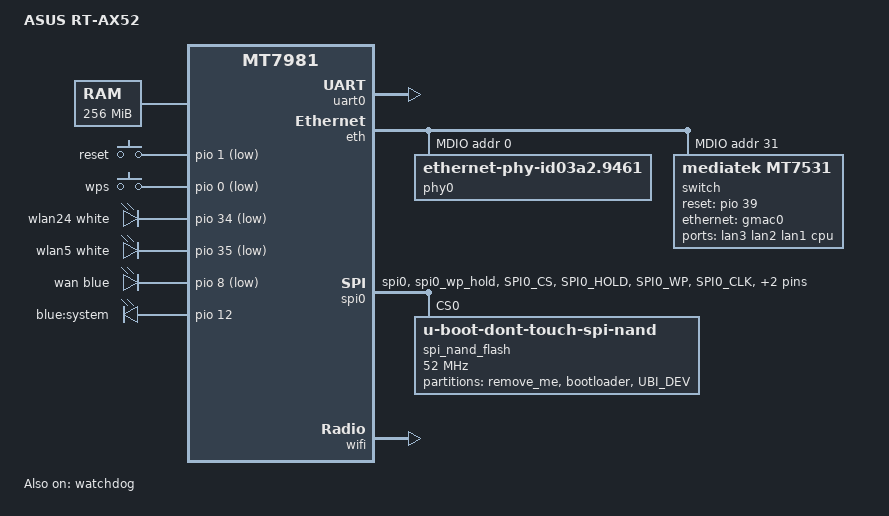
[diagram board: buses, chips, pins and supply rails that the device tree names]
// SPDX-License-Identifier: GPL-2.0-or-later OR MIT
/dts-v1/;
#include "mt7981.dtsi"
/ {
	model = "ASUS RT-AX52";
	compatible = "asus,rt-ax52", "mediatek,mt7981";

	aliases {
		serial0 = &uart0;
		label-mac-device = &gmac0;
		led-boot = &led_system;
		led-failsafe = &led_system;
		led-running = &led_system;
		led-upgrade = &led_system;
	};

	chosen {
		stdout-path = "serial0:115200n8";
		bootargs-override = "";
	};

	memory {
		reg = <0 0x40000000 0 0x10000000>;
	};

	keys {
		compatible = "gpio-keys";

		reset {
			label = "reset";
			gpios = <&pio 1 GPIO_ACTIVE_LOW>;
			linux,code = <KEY_RESTART>;
		};

		wps {
			label = "wps";
			gpios = <&pio 0 GPIO_ACTIVE_LOW>;
			linux,code = <KEY_WPS_BUTTON>;
		};
	};

	leds {
		compatible = "gpio-leds";

		wlan24 {
			function = LED_FUNCTION_WLAN_2GHZ;
			color = <LED_COLOR_ID_WHITE>;
			gpios = <&pio 34 GPIO_ACTIVE_LOW>;
			linux,default-trigger = "phy0tpt";
		};

		wlan5 {
			function = LED_FUNCTION_WLAN_5GHZ;
			color = <LED_COLOR_ID_WHITE>;
			gpios = <&pio 35 GPIO_ACTIVE_LOW>;
			linux,default-trigger = "phy1tpt";
		};

		wan {
			function = LED_FUNCTION_WAN;
			color = <LED_COLOR_ID_BLUE>;
			gpios = <&pio 8 GPIO_ACTIVE_LOW>;
		};

		led_system: system {
			label = "blue:system";
			gpios = <&pio 12 GPIO_ACTIVE_HIGH>;
		};
	};

	timer {
		clock-frequency = <12996791>;
	};
};

&uart0 {
	status = "okay";
};

&eth {
	status = "okay";

	gmac0: mac@0 {
		/* LAN */
		compatible = "mediatek,eth-mac";
		reg = <0>;
		nvmem-cells = <&macaddr_factory_4>;
		nvmem-cell-names = "mac-address";
		phy-mode = "2500base-x";

		fixed-link {
			speed = <2500>;
			full-duplex;
			pause;
		};
	};

	gmac1: mac@1 {
		/* WAN */
		compatible = "mediatek,eth-mac";
		reg = <1>;
		nvmem-cells = <&macaddr_factory_4>;
		nvmem-cell-names = "mac-address";
		phy-mode = "gmii";
		phy-handle = <&phy0>;
		label = "wan";
	};

	mdio: mdio-bus {
		#address-cells = <1>;
		#size-cells = <0>;

		phy0: ethernet-phy@0 {
			compatible = "ethernet-phy-id03a2.9461";
			reg = <0>;
			phy-mode = "gmii";
			#nvmem-cells = <&phy_calibration>;
			#nvmem-cell-names = "phy-cal-data";
		};

		switch@1f {
			compatible = "mediatek,mt7531";
			reg = <31>;
			reset-gpios = <&pio 39 0>;

			ports {
				#address-cells = <1>;
				#size-cells = <0>;

				port@0 {
					reg = <0>;
					label = "lan3";
				};

				port@1 {
					reg = <1>;
					label = "lan2";
				};

				port@2 {
					reg = <2>;
					label = "lan1";
				};

				port@6 {
					reg = <6>;
					label = "cpu";
					ethernet = <&gmac0>;
					phy-mode = "2500base-x";

					fixed-link {
						speed = <2500>;
						full-duplex;
						pause;
					};
				};
			};
		};
	};
};

&spi0 {
	pinctrl-names = "default";
	pinctrl-0 = <&spi0_flash_pins>;
	status = "okay";

	spi_nand_flash: flash@0 {
		compatible = "u-boot-dont-touch-spi-nand";
		#address-cells = <1>;
		#size-cells = <1>;
		reg = <0>;

		spi-max-frequency = <52000000>;
		spi-tx-bus-width = <4>;
		spi-rx-bus-width = <4>;

		/*
		 * ASUS bootloader tries to replace the partitions defined in
		 * Device Tree and by that also deletes all additional properties
		 * needed for UBI and NVMEM-on-UBI.
		 * Prevent this from happening by tricking the loader to delete and
		 * replace a bait node instead (works with older bootloaders).
		 */
		partitions: dummy {
			compatible = "u-boot-dummy-partitions";
			#address-cells = <1>;
			#size-cells = <1>;

			partition@0 {
				reg = <0x0 0x0>;
				label = "remove_me";
			};
		};

		partitions {
			compatible = "fixed-partitions";
			#address-cells = <1>;
			#size-cells = <1>;

			partition@0 {
				reg = <0x0 0x400000>;
				label = "bootloader";
				read-only;
			};

			partition@400000 {
				compatible = "linux,ubi";
				reg = <0x400000 0xfc00000>;
				label = "UBI_DEV";

				volumes {
					ubi_factory: ubi-volume-factory {
						volname = "Factory";
					};
				};
			};
		};
	};
};

&ubi_factory {
	nvmem-layout {
		compatible = "fixed-layout";
		#address-cells = <1>;
		#size-cells = <1>;

		eeprom_factory_0: eeprom@0 {
			reg = <0x0 0x1000>;
		};

		macaddr_factory_4: macaddr@4 {
			reg = <0x4 0x6>;
		};
	};
};

&spi1 {
	pinctrl-names = "default";
	pinctrl-0 = <&spic_pins>;
	status = "disabled";
};

&pio {
	i2c_pins: i2c-pins-g0 {
		mux {
			function = "i2c";
			groups = "i2c0_0";
		};
	};

	spi0_flash_pins: spi0-pins {
		mux {
			function = "spi";
			groups = "spi0", "spi0_wp_hold";
		};

		conf-pu {
			pins = "SPI0_CS", "SPI0_HOLD", "SPI0_WP";
			drive-strength = <MTK_DRIVE_8mA>;
			bias-pull-up = <MTK_PUPD_SET_R1R0_11>;
		};

		conf-pd {
			pins = "SPI0_CLK", "SPI0_MOSI", "SPI0_MISO";
			drive-strength = <MTK_DRIVE_8mA>;
			bias-pull-down = <MTK_PUPD_SET_R1R0_11>;
		};
	};

	spic_pins: spi1-pins {
		mux {
			function = "spi";
			groups = "spi1_1";
		};
	};

	uart1_pins: uart1-pins-g1 {
		mux {
			function = "uart";
			groups = "uart1_1";
		};
	};

	uart2_pins: uart2-pins-g1 {
		mux {
			function = "uart";
			groups = "uart2_1";
		};
	};
};

&watchdog {
	status = "okay";
};

&wifi {
	nvmem-cells = <&eeprom_factory_0>;
	nvmem-cell-names = "eeprom";

	status = "okay";
};
